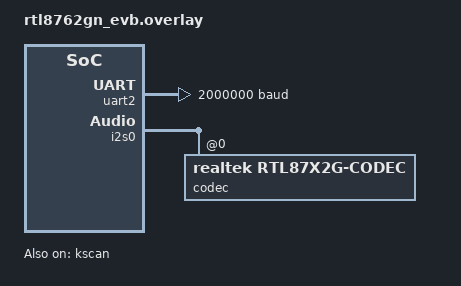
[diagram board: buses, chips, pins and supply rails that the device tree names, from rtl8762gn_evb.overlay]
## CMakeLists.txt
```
# SPDX-License-Identifier: Apache-2.0
cmake_minimum_required(VERSION 3.20.0)

find_package(Zephyr REQUIRED HINTS $ENV{ZEPHYR_BASE})

project(voice-demo)

target_include_directories(app PRIVATE inc)

file(GLOB BLE_SOURCES src/ble/*.c)
file(GLOB BUTTON_SOURCES src/button/*.c)
file(GLOB VOICE_SOURCES src/voice/*.c)

target_sources(app PRIVATE
    src/main.c
    src/loop_queue.c
)

target_sources_ifdef(CONFIG_BT app PRIVATE ${BLE_SOURCES})
target_sources_ifdef(CONFIG_AUDIO app PRIVATE ${VOICE_SOURCES})
target_sources_ifdef(CONFIG_VOICE_PPT_MASTER app PRIVATE src/ppt/voice_ppt_master.c)
target_sources_ifdef(CONFIG_VOICE_PPT_MASTER app PRIVATE src/button.c)
target_sources_ifdef(CONFIG_VOICE_PPT_MASTER app PRIVATE src/button.c)

target_sources_ifdef(CONFIG_VOICE_PPT_SLAVE app PRIVATE
    src/ppt/usb_audio.c
    src/ppt/voice_ppt_slave.c
)
```

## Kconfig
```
# Copyright (c) 2025 Realtek Semiconductor Corp.
# SPDX-License-Identifier: Apache-2.0

config APP_LOG_LEVEL
	int
	default 4

config BT_DEVICE_NAME
	string "device name"
	default "Zephyr Voice demo"

module = VOICE_DEMO
module-str = app
source "subsys/logging/Kconfig.template.log_config"

if REALTEK_PPT

choice VOICE_PPT_ROLE
	prompt "2.4G PPT role"
	default VOICE_PPT_MASTER

config VOICE_PPT_MASTER
	bool "Master (voice device, sends encoded audio)"
	select REALTEK_USING_PPT_SYNC_MASTER

config VOICE_PPT_SLAVE
	bool "Slave (dongle, receives and decodes audio)"
	select REALTEK_USING_PPT_SYNC_SLAVE

endchoice

endif # REALTEK_PPT

choice APP_UAC_SAMPLE_RATE
	prompt "UAC microphone sample rate"
	default APP_UAC_SAMPLE_RATE_16K

config APP_UAC_SAMPLE_RATE_16K
	bool "16 kHz"

config APP_UAC_SAMPLE_RATE_48K
	bool "48 kHz"

endchoice

config APP_UAC_SAMPLE_RATE
	int
	default 16000 if APP_UAC_SAMPLE_RATE_16K
	default 48000 if APP_UAC_SAMPLE_RATE_48K

source "Kconfig.zephyr"
```

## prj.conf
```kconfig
# CONFIG_BT=y
CONFIG_BT_SMP=y
CONFIG_BT_DIS=y
CONFIG_BT_BAS=y

CONFIG_BT_PERIPHERAL=y
CONFIG_BT_RTL87X2G=y
#enable link key storage
CONFIG_BT_SETTINGS=y
CONFIG_BT_KEYS_OVERWRITE_OLDEST=y
CONFIG_FLASH=y
CONFIG_FLASH_PAGE_LAYOUT=y
CONFIG_FLASH_MAP=y
CONFIG_NVS=y
CONFIG_SETTINGS=y
CONFIG_BT_MAX_CONN=2
CONFIG_BT_MAX_PAIRED=1
#enable to send voice data
CONFIG_BT_BUF_ACL_RX_SIZE=251
CONFIG_BT_L2CAP_TX_MTU=247
#enable DLE
CONFIG_BT_USER_DATA_LEN_UPDATE=y
CONFIG_BT_CTLR_DATA_LENGTH_MAX=251

CONFIG_GPIO=y
CONFIG_DMA=y
CONFIG_PWM=y
#audio configurations
CONFIG_AUDIO=y
CONFIG_AUDIO_CODEC=y
CONFIG_I2S=y
CONFIG_I2S_RTL87X2G_RX=y
# CONFIG_I2S_RTL8762G_TX=y
CONFIG_REALTEK_VOICE=y

# CONFIG_PM=y
# CONFIG_PM_DEVICE=y

# 2.4G PPT transport (mutually exclusive with BLE; uncomment to enable)
CONFIG_REALTEK_PPT=y
CONFIG_PPT_DRIVER_LOG_LEVEL=0
# CONFIG_VOICE_PPT_MASTER=y   # voice device (master) role
CONFIG_VOICE_PPT_SLAVE=y    # dongle (slave) role — requires libppt_sync_slave.a

# USB audio output (slave/dongle role only)
CONFIG_USB_DEVICE_STACK=y
CONFIG_USB_DEVICE_AUDIO=y
# CONFIG_USB_DEVICE_AUDIO_SAMPLE_RATE=16000
CONFIG_NET_BUF=y

CONFIG_RING_BUFFER=y
CONFIG_CBPRINTF_FP_SUPPORT=y
CONFIG_HEAP_MEM_POOL_SIZE=8900
CONFIG_SYSTEM_WORKQUEUE_STACK_SIZE=2048
CONFIG_LOG=y
CONFIG_LOG_MODE_IMMEDIATE=y
CONFIG_LOG_PROCESS_THREAD_STACK_SIZE=1024
CONFIG_LOG_BUFFER_SIZE=2048
```

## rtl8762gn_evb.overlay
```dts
#include <zephyr/dt-bindings/gpio/realtek-rtl87x2g-gpio.h>

/ {
    chosen {
        voice,console = &uart0;
        kscan = &kscan;
    };
};

&kscan {
    pinctrl-0 = <&kscan_default>;
    pinctrl-1 = <&kscan_sleep>;
    pinctrl-names = "default", "sleep";
    row-size = <2>;
    col-size = <2>;
    debounce-time-us = <10000>;
    scan-time-us = <50000>;
    release-time-us = <10000>;
    scan-debounce-cnt = <1>;
    status = "okay";
};

&uart2 {
	pinctrl-0 = <&uart2_default>;
	pinctrl-1 = <&uart2_sleep>;
	pinctrl-names = "default", "sleep";
	status = "okay";
	current-speed = <2000000>;
	parity = "none";
	stop-bits = "1";
	data-bits = <8>;
};

&i2s0 {
	dmas = <&dma0 0 41 0x26a1>, <&dma0 1 42 0x648a>;
	dma-names = "tx", "rx";
	pinctrl-0 = <&i2s0_default>;
	pinctrl-names = "default";

	status = "okay";
	codec: codec@0 {
		compatible = "realtek,rtl87x2g-codec";
		reg = <0>;
		channel-sequence = "l_r";
		mic-bias = "1_8";
		mic-bst-gain = "30dB";
		mic-bst-mode = "differential";
		mic-type = "amic";
		dmic-data-latch = "rising_latch";
		ad-gain = <0x2f>;
		boost-gain = "0dB";
		pinctrl-0 = <&codec_default>;
		pinctrl-names = "default";
        status = "okay";
	};
};

&dma0 {
 	status = "okay";
};

&pinctrl {
    kscan_default: kscan_default {
        group1 {
            psels =
            <RTL87X2G_PSEL(KEY_COL_0, P4_3, DIR_OUT, DRV_LOW, PULL_NONE)>,
            <RTL87X2G_PSEL(KEY_COL_1, P4_2, DIR_OUT, DRV_LOW, PULL_NONE)>;
        };
        group2 {
            psels =
            <RTL87X2G_PSEL(KEY_ROW_0, P0_0, DIR_IN, DRV_LOW, PULL_UP)>,
            <RTL87X2G_PSEL(KEY_ROW_1, P0_1, DIR_IN, DRV_LOW, PULL_UP)>;
            bias-pull-strong;
        };
    };
    kscan_sleep: kscan_sleep {
        group1 {
            psels =
            <RTL87X2G_PSEL(SW_MODE, P4_3, DIR_OUT, DRV_LOW, PULL_DOWN)>,
            <RTL87X2G_PSEL(SW_MODE, P4_2, DIR_OUT, DRV_LOW, PULL_DOWN)>;
        };
        group2 {
            psels =
            <RTL87X2G_PSEL(SW_MODE, P0_0, DIR_IN, DRV_HIGH, PULL_UP)>,
            <RTL87X2G_PSEL(SW_MODE, P0_1, DIR_IN, DRV_HIGH, PULL_UP)>;
            bias-pull-strong;
            wakeup-low;
        };
    };
    i2s0_default: i2s0_default {
        group1 {
            psels = <RTL87X2G_PSEL(BCLK_SPORT0, P4_0, DIR_OUT, DRV_LOW, PULL_NONE)>,
             <RTL87X2G_PSEL(SDI_CODEC_SLAVE, P4_2, DIR_OUT, DRV_LOW, PULL_NONE)>,
             <RTL87X2G_PSEL(SDO_CODEC_SLAVE, P4_3, DIR_OUT, DRV_LOW, PULL_NONE)>;
        };
    };
    codec_default: codec_default {
        group1 {
            psels = <RTL87X2G_PSEL(PWR_OFF, MICBIAS, DIR_OUT, DRV_HIGH, PULL_NONE)>,
             <RTL87X2G_PSEL(PWR_OFF, P2_6, DIR_OUT, DRV_HIGH, PULL_NONE)>,
             <RTL87X2G_PSEL(PWR_OFF, P2_7, DIR_OUT, DRV_HIGH, PULL_NONE)>;
        };
    };
    uart2_sleep: uart2_sleep {
		group1 {
			psels = <RTL87X2G_PSEL(SW_MODE, P3_0, DIR_OUT, DRV_HIGH, PULL_UP)>,
			<RTL87X2G_PSEL(SW_MODE, P3_1, DIR_IN, DRV_HIGH, PULL_UP)>;
		};
	};
};
```

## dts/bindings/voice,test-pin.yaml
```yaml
description: Voice test GPIO pin node for voice-demo

compatible: "voice,test-pin"

properties:
  test-pin1:
    type: phandle-array
    specifier-space: gpio
    required: true
  test-pin2:
    type: phandle-array
    specifier-space: gpio
    required: false
  test-pin3:
    type: phandle-array
    specifier-space: gpio
    required: false
  test-pin4:
    type: phandle-array
    specifier-space: gpio
    required: false
```

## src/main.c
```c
/*
 * Copyright (c) 2025 Realtek Semiconductor Corp.
 *
 * SPDX-License-Identifier: Apache-2.0
 */

#include <zephyr/kernel.h>
#include <zephyr/device.h>
#include "button.h"
#include "button_handle.h"
#include <ble/ble.h>
#include <zephyr/logging/log.h>
#if IS_ENABLED(CONFIG_VOICE_PPT_MASTER)
#include <ppt/voice_ppt_master.h>
#elif IS_ENABLED(CONFIG_VOICE_PPT_SLAVE)
#include <ppt/voice_ppt_slave.h>
#endif

LOG_MODULE_REGISTER(app, CONFIG_APP_LOG_LEVEL);

int main()
{
	LOG_DBG("");
// #if IS_ENABLED(CONFIG_KSCAN)
// 	if (kscan_init(DEVICE_DT_GET(DT_CHOSEN(kscan))) != 0) {
// 		return -ENOTSUP;
// 	}
// #endif
#if IS_ENABLED(CONFIG_BT)
	ble_init();
#endif
#if IS_ENABLED(CONFIG_VOICE_PPT_MASTER)
	voice_ppt_master_init();
	voice_ppt_master_enable();
	voice_test_button_init();
#elif IS_ENABLED(CONFIG_VOICE_PPT_SLAVE)
	app_usb_audio_init();
	voice_ppt_slave_init();
	voice_ppt_slave_enable();
#endif
}
```

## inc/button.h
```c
/*
 * Copyright (c) 2025 Realtek Semiconductor Corp.
 *
 * SPDX-License-Identifier: Apache-2.0
 */

#pragma once

int voice_test_button_init(void);
```

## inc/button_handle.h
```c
/*
 * Copyright (c) 2025 Realtek Semiconductor Corp.
 *
 * SPDX-License-Identifier: Apache-2.0
 */

#pragma once

#include <zephyr/kernel.h>
#include <zephyr/sys/util.h>
#include <zephyr/types.h>
#include <config.h>

/*============================================================================*
 *                              Macros
 *============================================================================*/

/*============================================================================*
 *                         Types
 *============================================================================*/

/*============================================================================*
*                        Export Global Variables
*============================================================================*/

/*============================================================================*
 *                         Functions
 *============================================================================*/
void key_handle_one_key_scenario(void);
void key_handle_release_event(void);
```

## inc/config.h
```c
/*
 * Copyright (c) 2025 Realtek Semiconductor Corp.
 *
 * SPDX-License-Identifier: Apache-2.0
 */

#pragma once

#include <zephyr/kernel.h>
#include <zephyr/sys/util.h>

/*============================================================================*
 *                              Macros
 *============================================================================*/

/**
 * VOICE Module config
 */
#define SUPPORT_VOICE_FEATURE               1  /* set 1 to support voice feature */
#define FEATURE_SUPPORT_UART_DUMP_VOICE_RAW_DATA 0 /* set 1 to support uart dump voice feature */
#define FEATURE_SUPPORT_UART_DUMP_VOICE_ENCODE_DATA 0 /* set 1 to support uart dump voice encode data */
#define FEATURE_SUPPORT_UART_DUMP_VOICE_DECODE_DATA 0 /* set 1 to dump slave decoded PCM via UART */
#define FEATURE_SUPPORT_UART_DUMP_UAC_SEND_DATA     0 /* set 1 to dump UAC ISO IN frames via UART */

#if SUPPORT_VOICE_FEATURE

#define SUPPORT_MIC_BIAS_OUTPUT             1  /* set 1 to enable MIC bias output */

#define SUPPORT_UART_DUMP_FEATURE           0  /* set 1 to support UART dump PCM data */

#define SUPPORT_SW_EQ                       0  /* set 1 to support software equalizer */

#if SUPPORT_UART_DUMP_FEATURE
#define VOICE_UART_TEST_TX          P3_1
#endif

/* mic type definitions */
#define AMIC_TYPE                   0  /* Analog MIC */
#define DMIC_TYPE                   1  /* digital MIC */

/* amic input type definitions */
#define AMIC_INPUT_TYPE_DIFF        0  /* differential analog input */
#define AMIC_INPUT_TYPE_SINGLE      1  /* single-end analog input */

/* dmic data latch type definitions */
#define DMIC_DATA_LATCH_FALLING_EDGE    0  /* falling clock edge */
#define DMIC_DATA_LATCH_RISING_EDGE     1  /* rising clock edge */

/* codec sample rate type definitions */
#define CODEC_SAMPLE_RATE_8KHz        1  /* 8KHz codec sample rate */
#define CODEC_SAMPLE_RATE_16KHz       2  /* 16KHz codec sample rate */

#define CODEC_SAMPLE_RATE_SEL       CODEC_SAMPLE_RATE_16KHz

#define VOICE_MIC_TYPE             AMIC_TYPE

#if (VOICE_MIC_TYPE == AMIC_TYPE)
#define AMIC_MIC_N_PIN              P2_6  /* MIC_N is fixed to P2_6 */
#define AMIC_MIC_P_PIN              P2_7  /* MIC_P is fixed to P2_7 */
#define AMIC_MIC_BIAS_PIN           H_0   /* MICBIAS is fixed to H_0 */
#define AMIC_INPUT_TYPE_SEL         AMIC_INPUT_TYPE_DIFF
#elif (VOICE_MIC_TYPE == DMIC_TYPE)
#if (RCU_HD_PLATFORM_SEL == H_DEMO_RCU)
#define DMIC_CLK_PIN                P2_6  /* DMIC clock PIN, support PINMUX */
#define DMIC_DATA_PIN               P2_7  /* DMIC data PIN, support PINMUX */
#else
#define DMIC_CLK_PIN                P2_0  /* DMIC clock PIN, support PINMUX */
#define DMIC_DATA_PIN               P2_1  /* DMIC data PIN, support PINMUX */
#endif
#define DMIC0_DATA_LATCH_TYPE       DMIC_DATA_LATCH_FALLING_EDGE
#endif

/* voice flow type, default IFLYTEK_VOICE_FLOW */
#define IFLYTEK_VOICE_FLOW          0
#define HIDS_GOOGLE_VOICE_FLOW      1
#define ATV_GOOGLE_VOICE_FLOW       2
#define RTK_GATT_VOICE_FLOW         3

#define VOICE_FLOW_SEL              IFLYTEK_VOICE_FLOW

/* voice encode type */
#define SW_MSBC_ENC                 1  /* software msbc encode */
#define SW_SBC_ENC                  2  /* software sbc encode */
#define SW_IMA_ADPCM_ENC            3  /* software IMA/DVI adpcm encode */

/* voice encode config */
#if ((VOICE_FLOW_SEL == IFLYTEK_VOICE_FLOW) || (VOICE_FLOW_SEL == HIDS_GOOGLE_VOICE_FLOW))
#define VOICE_ENC_TYPE              SW_SBC_ENC//SW_MSBC_ENC

#elif (VOICE_FLOW_SEL == ATV_GOOGLE_VOICE_FLOW)
/* ATV_GOOGLE_VOICE_FLOW must use SW_IMA_ADPCM_ENC */
#define VOICE_ENC_TYPE              SW_IMA_ADPCM_ENC

#elif (VOICE_FLOW_SEL == RTK_GATT_VOICE_FLOW)
#define VOICE_ENC_TYPE              SW_SBC_ENC
#endif

/* ATV Google voice config */
#if (VOICE_FLOW_SEL == ATV_GOOGLE_VOICE_FLOW)
/* ATV Google voice version type */
#define ATV_VERSION_0_4             1  /* v0.4 */
#define ATV_VERSION_1_0             2  /* v1.0 */

/* ATV Google voice assistant interaction type */
#define ATV_INTERACTION_MODEL_ON_REQUEST            1  /* on request */
#define ATV_INTERACTION_MODEL_PRESS_TO_TALK         2  /* PTT */
#define ATV_INTERACTION_MODEL_HOLD_TO_TALK          3  /* HTT */

#define ATV_VOICE_VERSION           ATV_VERSION_1_0  /* default version is v1.0 */
#define ATV_VOICE_INTERACTION_MODEL ATV_INTERACTION_MODEL_HOLD_TO_TALK  /* default assistant interaction is HTT */
#endif

#endif
```

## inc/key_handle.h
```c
/*
 * Copyright (c) 2025 Realtek Semiconductor Corp.
 *
 * SPDX-License-Identifier: Apache-2.0
 */

#pragma once

#include <zephyr/kernel.h>
#include <zephyr/sys/util.h>
#include <zephyr/types.h>
#include <config.h>

/*============================================================================*
 *                              Macros
 *============================================================================*/
#define KEY_CODE_TABLE_SIZE KEY_INDEX_ENUM_GUAID
#define KEYPAD_ROW_SIZE 5
#define KEYPAD_COLUMN_SIZE 4
#define MAX_HID_KEYBOARD_USAGE_CNT 8
#define MAX_HID_CONSUMER_USAGE_CNT 3
#define MAX_HID_VOICE_USAGE_CNT 120

#define HID_USAGE_KEY_KEYBOARD_VOICE 0x3e

/* define the bit mask of combine keys */
#define INVALID_COMBINE_KEYS_BIT_MASK               0x0000
#define PAIRING_COMBINE_KEYS_BIT_MASK               0x0001
#define IR_LEARNING_COMBINE_KEYS_BIT_MASK           0x0002
#define HCI_UART_TEST_COMBINE_KEYS_BIT_MASK         0x0004
#define DATA_UART_TEST_COMBINE_KEYS_BIT_MASK        0x0008
#define SINGLE_TONE_TEST_COMBINE_KEYS_BIT_MASK      0x0010
#define FAST_PAIR_1_COMBINE_KEYS_BIT_MASK           0x0020
#define FAST_PAIR_2_COMBINE_KEYS_BIT_MASK           0x0040
#define FAST_PAIR_3_COMBINE_KEYS_BIT_MASK           0x0080
#define FAST_PAIR_4_COMBINE_KEYS_BIT_MASK           0x0100
#define FAST_PAIR_5_COMBINE_KEYS_BIT_MASK           0x0200
#define BUG_REPORT_COMBINE_KEYS_BIT_MASK            0x0400
#define FACTORY_RESET_COMBINE_KEYS_BIT_MASK         0x8000

#define COMBINE_KEYS_DETECT_TIMEOUT         2000  /* 2 sec */
#define FACTORY_RESET_KEYS_DETECT_TIMEOUT   4000  /* 4 sec */
#define BUG_REPOERT_DETECT_TIMEOUT          1000  /* 1 sec */

/*============================================================================*
 *                         Types
 *============================================================================*/
/* define the key types */
typedef enum
{
    KEY_TYPE_NONE       = 0x00,  /* none key type */
    KEY_TYPE_BLE_ONLY   = 0x01,  /* only BLE key type */
    KEY_TYPE_IR_ONLY    = 0x02,  /* only IR key type */
    KEY_TYPE_BLE_OR_IR  = 0x03,  /* BLE or IR key type */
} T_KEY_TYPE_DEF;

/* define the HID usage pages */
typedef enum
{
    HID_USAGE_UNDEFINED  = 0x00,
    HID_USAGE_KEY   = 0x07,
    HID_USAGE_CONSUMER   = 0x0C,
} T_HID_USAGE_PAGES_DEF;

/* define the struct of key code */
typedef struct
{
    T_KEY_TYPE_DEF key_type;
    uint8_t ir_key_code;
    uint8_t hid_usage_page;
    uint32_t hid_usage_id;
} T_KEY_CODE_DEF;

/**
 * @brief  KeyScan FIFO data struct definition.
 */
typedef struct
{
    uint32_t len;               /**< Keyscan state register        */
    struct
    {
        uint16_t column: 5;      /**< Keyscan raw buffer data       */
        uint16_t row: 4;         /**< Keyscan raw buffer data       */
        uint16_t reserved: 7;
    } key[8];
} T_KEYSCAN_FIFO_DATA;

typedef struct
{
    uint8_t keyboard_usage_cnt;
    uint8_t keyboard_usage_buffer[MAX_HID_KEYBOARD_USAGE_CNT];
    uint8_t consumer_usage_cnt;
    uint16_t consumer_usage_buffer[MAX_HID_CONSUMER_USAGE_CNT];
} T_KEY_HID_USAGES_BUFFER;

/* define the key index */
typedef enum
{
    VK_NONE          = 0x00,
    VK_POWER         = 0x01,
    VK_PAGE_UP       = 0x02,
    VK_PAGE_DOWN     = 0x03,
    VK_MENU          = 0x04,
    VK_HOME          = 0x05,
    VK_VOICE         = 0x06,
    VK_ENTER         = 0x07,
    VK_EXIT          = 0x08,
    VK_LEFT          = 0x09,
    VK_RIGHT         = 0x0A,
    VK_UP            = 0x0B,
    VK_DOWN          = 0x0C,
    VK_MOUSE_EN      = 0x0D,
    VK_VOLUME_MUTE   = 0x0E,
    VK_VOLUME_UP     = 0x0F,
    VK_VOLUME_DOWN   = 0x10,
    VK_VOICE_STOP    = 0x11,
    VK_TV_POWER      = 0x12,
    VK_TV_SIGNAL     = 0x13,
    VK_NETFLIX,
    VK_YOUTUBE,
    VK_APP04,

    MM_ScanNext,
    MM_ScanPrevious,
    MM_Stop,
    MM_Play_Pause,
    MM_Mute,
    MM_BassBoost,
    MM_Loudness,
    MM_VolumeIncrement,
    MM_VolumeDecrement,
    MM_BassIncrement,
    MM_BassDecrement,
    MM_TrebleIncrement,
    MM_TrebleDecrement,
    MM_AL_ConsumerControl,
    MM_AL_EmailReader,
    MM_AL_Calculator,
    MM_AL_LocalMachineBrowser,
    MM_AC_Search,
    MM_AC_Home,
    MM_AC_Back,
    MM_AC_Forward,
    MM_AC_Stop,
    MM_AC_Refresh,
    MM_AC_Bookmarks,
    MM_Dashboard,
    MM_DPadUp,
    MM_DPadDown,
    MM_DPadLeft,
    MM_DPadRight,
    MM_DPadCenter,
    MM_Guide,
    MM_Live,
    MM_BugReport,
    KEY_INDEX_ENUM_GUAID
} T_KEY_INDEX_DEF;

/* Key global parameters' struct */
typedef struct
{
    uint32_t combine_keys_status;  /* to indicate the status of combined keys */
    T_KEY_HID_USAGES_BUFFER current_hid_usage_buf;  /* to indicate the current key HID usage buffer */
    T_KEY_HID_USAGES_BUFFER prev_hid_usage_buf;  /* to indicate the preivous key HID usage buffer */
    T_KEYSCAN_FIFO_DATA keyscan_fifo_data;  /* to indicate the pending keyscan FIFO data */
    T_KEY_INDEX_DEF last_long_pressed_key_index; /* to indicate the last long pressed */
} T_KEY_HANDLE_GLOBAL_DATA;

/*============================================================================*
*                        Export Global Variables
*============================================================================*/
extern T_KEY_HANDLE_GLOBAL_DATA key_handle_global_data;

/*============================================================================*
 *                         Functions
 *============================================================================*/
void key_handle_one_key_scenario(void);
bool key_handle_prepare_hid_usage_buffer(T_KEY_INDEX_DEF key_index,
                                                T_KEY_HID_USAGES_BUFFER *p_buf);
int key_handle_notify_hid_usage_buffer(T_KEY_HID_USAGES_BUFFER *p_cur_buf,
                                               T_KEY_HID_USAGES_BUFFER *p_prev_buf);
bool key_handle_notify_hid_release_event(void);
void key_handle_one_key_in_idle_status(T_KEY_INDEX_DEF key_index);
void key_handle_one_key_in_adv_status(T_KEY_INDEX_DEF key_index);
void key_handle_release_event(void);
T_KEY_INDEX_DEF key_handle_get_key_index_by_row_column(uint32_t row, uint32_t col);
T_KEY_TYPE_DEF key_handle_get_key_type_by_key_index(uint32_t key_index);
uint32_t key_handle_get_hid_usage_id_by_key_index(uint32_t key_index);
uint8_t key_handle_get_hid_usage_page_by_key_index(uint32_t key_index);
uint8_t key_handle_get_ir_key_code_by_key_index(uint32_t key_index);
void key_handle_update_kscan_fifo_data(uint32_t row, uint32_t col, bool pressed);
```

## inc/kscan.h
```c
/*
 * Copyright (c) 2025 Realtek Semiconductor Corp.
 *
 * SPDX-License-Identifier: Apache-2.0
 */

#pragma once

#include <zephyr/device.h>

int kscan_init(const struct device *dev);
```

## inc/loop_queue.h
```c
/*
 * Copyright (c) 2025 Realtek Semiconductor Corp.
 *
 * SPDX-License-Identifier: Apache-2.0
 */

#pragma once

#include <stdint.h>
#include <zephyr/kernel.h>
#include <mem_types.h>

/*============================================================================*
 *                              Types
 *============================================================================*/
typedef void *T_LOOP_QUEUE_BUF;

/**
 * @brief Loop queue data struct
 */
typedef struct
{
    volatile bool               is_over_flow;       /* loop queue item size */
    volatile uint16_t           item_size;          /* buf data type */
    volatile uint16_t           buf_max_item_num;   /* Buffer size of loop queue */
    volatile uint16_t           read_index;         /* index of read queue */
    volatile uint16_t           write_index;        /* index of write queue */
    volatile T_LOOP_QUEUE_BUF   p_buf;              /* Buffer for loop queue */
} T_LOOP_QUEUE_DEF;

/*============================================================================*
 *                         Functions
 *============================================================================*/
T_LOOP_QUEUE_DEF *loop_queue_init(uint16_t buf_max_size, uint16_t item_size);
void loop_queue_deinit(T_LOOP_QUEUE_DEF **p_loop_queue);
bool loop_queue_is_full(T_LOOP_QUEUE_DEF *p_queue_struct, uint16_t write_size);
bool loop_queue_is_empty(T_LOOP_QUEUE_DEF *p_queue_struct);
uint16_t loop_queue_get_vailid_data_size(T_LOOP_QUEUE_DEF *p_queue_struct);
uint16_t loop_queue_get_free_data_size(T_LOOP_QUEUE_DEF *p_loop_queue);
bool loop_queue_write_buf(T_LOOP_QUEUE_DEF *p_queue_struct, T_LOOP_QUEUE_BUF p_buf, uint16_t size,
                          bool is_overflow_data_abandoned);
bool loop_queue_read_buf(T_LOOP_QUEUE_DEF *p_queue_struct, T_LOOP_QUEUE_BUF p_buf, uint16_t size);
bool loop_queue_copy_buf(T_LOOP_QUEUE_DEF *p_queue_struct, T_LOOP_QUEUE_BUF p_buf, uint16_t size);
```

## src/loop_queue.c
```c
/*
 * Copyright (c) 2025 Realtek Semiconductor Corp.
 *
 * SPDX-License-Identifier: Apache-2.0
 */

#include <zephyr/kernel.h>
#include <zephyr/device.h>
#include <zephyr/bluetooth/addr.h>
#include <zephyr/logging/log.h>
#include <config.h>
#include <loop_queue.h>
#include <mem_types.h>
#include <os_mem.h>
#include "trace.h"
#include "rtl_pinmux.h"

LOG_MODULE_DECLARE(app, CONFIG_APP_LOG_LEVEL);

/*============================================================================*
 *                              Functions Declaration
 *============================================================================*/
bool loop_queue_is_full(T_LOOP_QUEUE_DEF *p_queue_struct, uint16_t write_size);
bool loop_queue_is_empty(T_LOOP_QUEUE_DEF *p_queue_struct);
uint16_t loop_queue_get_vailid_data_size(T_LOOP_QUEUE_DEF *p_queue_struct);
uint16_t loop_queue_get_free_data_size(T_LOOP_QUEUE_DEF *p_loop_queue);
bool loop_queue_write_buf(T_LOOP_QUEUE_DEF *p_queue_struct, T_LOOP_QUEUE_BUF p_buf, uint16_t size,
                          bool is_overflow_data_abandoned);
bool loop_queue_read_buf(T_LOOP_QUEUE_DEF *p_queue_struct, T_LOOP_QUEUE_BUF p_buf,
                         uint16_t size);
bool loop_queue_copy_buf(T_LOOP_QUEUE_DEF *p_queue_struct, T_LOOP_QUEUE_BUF p_buf,
                         uint16_t size);

/*============================================================================*
 *                              Global Functions
 *============================================================================*/
/******************************************************************
 * @brief   Initializes loop queue to their default reset values.
 * @param   buf_max_size - loop queue buffer max size.
 * @param   item_size - queue item size.
 * @param   ram_type - RAM_TYPE_DATA_ON or RAM_TYPE_BUFFER_ON.
 * @retval  void*
 */
T_LOOP_QUEUE_DEF *loop_queue_init(uint16_t item_cnt, uint16_t item_size)
{
    if ((item_cnt == 0) && (item_size == 0))
    {
        LOG_DBG("[loop queue] buf_max_size is invalid!");
        return NULL;
    }
    T_LOOP_QUEUE_DEF *p_loop_queue = NULL;
    p_loop_queue = k_malloc(sizeof(T_LOOP_QUEUE_DEF));
    if (p_loop_queue != NULL)
    {
        uint32_t buf_max_size = item_cnt * item_size;
        memset(p_loop_queue, 0, sizeof(T_LOOP_QUEUE_DEF));
        p_loop_queue->item_size = item_size;
        p_loop_queue->buf_max_item_num = item_cnt;
        p_loop_queue->is_over_flow = false;
        p_loop_queue->p_buf = NULL;
        p_loop_queue->p_buf = k_malloc(buf_max_size);

        if (p_loop_queue->p_buf != NULL)
        {
            memset((uint8_t *)p_loop_queue->p_buf, 0, buf_max_size);
        }
        else
        {
            k_free(p_loop_queue);
            p_loop_queue = NULL;
        }
    }
    return p_loop_queue;
}

/******************************************************************
 * @brief   Deinitializes loop queue
 * @param   p_loop_queue - point to loop queue which needs deinitialization.
 * @return  none
 * @retval  void
 */
void loop_queue_deinit(T_LOOP_QUEUE_DEF **p_loop_queue)
{
    if (*p_loop_queue != NULL)
    {
        if ((*p_loop_queue)->p_buf != NULL)
        {
            k_free((*p_loop_queue)->p_buf);
            (*p_loop_queue)->p_buf = NULL;
        }
        k_free((*p_loop_queue));
        *p_loop_queue = NULL;
    }
}

/******************************************************************
 * @brief   Get valid data length of loop queue.
 * @param   p_loop_queue - point to loop queue dta struct.
 * @return  valid data size of loop queue.
 * @retval  uint16_t
 */
uint16_t loop_queue_get_vailid_data_size(T_LOOP_QUEUE_DEF *p_loop_queue)
{
    if (p_loop_queue == NULL)
    {
        LOG_DBG("[loop queue] pointer is invalid!");
        return 0;
    }

    if (p_loop_queue->write_index == p_loop_queue->read_index)
    {
        if (p_loop_queue->is_over_flow == true)
        {
            return (p_loop_queue->item_size * p_loop_queue->buf_max_item_num);
        }
        else
        {
            return 0;
        }
    }
    else
    {
        return (p_loop_queue->item_size * ((p_loop_queue->buf_max_item_num + p_loop_queue->write_index -
                                            p_loop_queue->read_index) % p_loop_queue->buf_max_item_num));
    }
}

/******************************************************************
 * @brief   Get free data length of loop queue.
 * @param   p_queue_struct - point to loop queue dta struct.
 * @return  free data size of loop queue.
 * @retval  uint16_t
 */
uint16_t loop_queue_get_free_data_size(T_LOOP_QUEUE_DEF *p_loop_queue)
{
    if (p_loop_queue == NULL)
    {
        LOG_DBG("[loop queue] pointer is invalid!");
        return 0;
    }

    if (p_loop_queue->write_index == p_loop_queue->read_index)
    {
        if (p_loop_queue->is_over_flow == true)
        {
            return 0;
        }
        else
        {
            return (p_loop_queue->item_size * p_loop_queue->buf_max_item_num);
        }
    }
    else
    {
        return (p_loop_queue->item_size * ((p_loop_queue->buf_max_item_num - p_loop_queue->write_index +
                                            p_loop_queue->read_index) % p_loop_queue->buf_max_item_num));
    }
}

/******************************************************************
 * @brief   check loop queue if will full or not.
 * @param   p_loop_queue - point to loop queue dta struct.
 * @return  loop queue is full or not
 * @retval  TRUE - full
 * @retval  FALSE - not full
 */
bool loop_queue_is_full(T_LOOP_QUEUE_DEF *p_loop_queue, uint16_t write_size)
{
    if (p_loop_queue == NULL)
    {
        LOG_DBG("[loop queue] pointer is invalid!");
        return true;
    }
    if (write_size % p_loop_queue->item_size != 0)
    {
        LOG_DBG("[loop queue] buf_max_size is invalid!");
        return true;
    }

    if (p_loop_queue->is_over_flow == true)
    {
        LOG_DBG("[loop queue] Loop Queue is already full!");
        return true;
    }
    else if (write_size >= loop_queue_get_free_data_size(p_loop_queue))
    {
        LOG_DBG("[loop queue] Loop Queue will over flow!");
        return true;
    }

    return false;
}

/******************************************************************
 * @brief   check loop queue if empty or not.
 * @param   p_loop_queue - point to loop queue dta struct.
 * @return  loop queue is empty or not
 * @retval  TRUE - empty
 * @retval  FALSE - empty full
 */
bool loop_queue_is_empty(T_LOOP_QUEUE_DEF *p_loop_queue)
{
    if (p_loop_queue == NULL)
    {
        LOG_DBG("[loop queue] pointer is invalid!");
        return false;
    }

    if (p_loop_queue->is_over_flow == false && p_loop_queue->write_index == p_loop_queue->read_index)
    {
        return true;
    }

    return false;
}

/******************************************************************
 * @brief   Write source buffer data to loop queue.
 * @param   p_loop_queue - point to loop queue data struct.
 * @param   p_write_buf - point to write buffer.
 * @param   size - size of data to be written.
 * @return  result
 * @retval  true or false
 */
bool loop_queue_write_buf(T_LOOP_QUEUE_DEF *p_loop_queue, T_LOOP_QUEUE_BUF p_write_buf,
                          uint16_t size, bool is_overflow_data_abandoned)
{
    uint16_t queue_buf_cur_idx = 0;
    uint16_t write_buf_cur_idx = 0;
    uint16_t remain_len = 0;
    uint16_t write_len = 0;
    uint16_t data_size = 0;

    /* Check parameters */
    if (p_write_buf == NULL || p_loop_queue == NULL || p_loop_queue->p_buf == NULL)
    {
        LOG_DBG("[loop queue] pointer is invalid!");
        return false;
    }

    if (size <= 0 || size % p_loop_queue->item_size != 0)
    {
        LOG_DBG("[loop queue] write data size is invalid!");
        return false;
    }

    if (!loop_queue_is_full(p_loop_queue, size))
    {
        remain_len = size / p_loop_queue->item_size;
    }
    else
    {
        if (is_overflow_data_abandoned == true)
        {
            remain_len = loop_queue_get_free_data_size(p_loop_queue) / p_loop_queue->item_size;
        }
        else
        {
            remain_len = size / p_loop_queue->item_size;
        }
        p_loop_queue->is_over_flow = true;
    }

    while (remain_len)
    {
        if (p_loop_queue->write_index + remain_len <= p_loop_queue->buf_max_item_num)
        {
            write_len = remain_len;
        }
        else
        {
            write_len = p_loop_queue->buf_max_item_num - p_loop_queue->write_index;
        }

        queue_buf_cur_idx = p_loop_queue->item_size * p_loop_queue->write_index;
        data_size = p_loop_queue->item_size * write_len;
        memcpy((uint8_t *)p_loop_queue->p_buf + queue_buf_cur_idx,
               (uint8_t *)p_write_buf + write_buf_cur_idx, data_size);
        write_buf_cur_idx += data_size;
        p_loop_queue->write_index = (p_loop_queue->write_index + write_len) %
                                    p_loop_queue->buf_max_item_num;
        remain_len -= write_len;
    }

    if (p_loop_queue->is_over_flow == true)
    {
        p_loop_queue->read_index = p_loop_queue->write_index;
    }

    return true;
}

/******************************************************************
 * @brief   Read data from loop queue.
 * @param   p_queue_struct - point to loop queue data struct.
 * @param   p_read_buf - point to read buffer
 * @param   size - size of data to be read.
 * @return  result
 * @retval  true or false
 */
bool loop_queue_read_buf(T_LOOP_QUEUE_DEF *p_loop_queue, T_LOOP_QUEUE_BUF p_read_buf,
                         uint16_t size)
{
    uint16_t queue_buf_cur_idx = 0;
    uint16_t read_buf_cur_idx = 0;
    uint16_t remain_len = 0;
    uint16_t read_len = 0;
    uint16_t data_size = 0;

    /* Check parameters */
    if (p_read_buf == NULL || p_loop_queue == NULL || p_loop_queue->p_buf == NULL)
    {
        LOG_DBG("[loop queue] pointer is invalid!");
        return false;
    }

    if (size <= 0 || size % p_loop_queue->item_size != 0)
    {
        LOG_DBG("[loop queue] read data size is invalid!");
        return false;
    }

    if (loop_queue_get_vailid_data_size(p_loop_queue) < size)
    {
        LOG_DBG("[loop queue] there is not enough data to read!");
        return false;
    }

    remain_len = size / p_loop_queue->item_size;

    uint32_t s;
    /* Enter the critical section */
    s = irq_lock();

    while (remain_len)
    {
        if (p_loop_queue->read_index + remain_len <= p_loop_queue->buf_max_item_num)
        {
            read_len = remain_len;
        }
        else
        {
            read_len = p_loop_queue->buf_max_item_num - p_loop_queue->read_index;
        }

        queue_buf_cur_idx = p_loop_queue->item_size * p_loop_queue->read_index;
        data_size = p_loop_queue->item_size * read_len;
        memcpy((uint8_t *)p_read_buf + read_buf_cur_idx, (uint8_t *)p_loop_queue->p_buf + queue_buf_cur_idx,
               data_size);
        read_buf_cur_idx += data_size;
        p_loop_queue->read_index = (p_loop_queue->read_index + read_len) % p_loop_queue->buf_max_item_num;
        remain_len -= read_len;
    }

    p_loop_queue->is_over_flow = false;

    /* Exit the critical section */
    irq_unlock(s);

    return true;
}

/******************************************************************
 * @brief   copy buffer data from loop queue.
 * @param   p_loop_queue - point to loop queue data struct.
 * @param   p_copy_buf - point to copy buffer
 * @param   size - size of data to be copy.
 * @return  result
 * @retval  true or false
 */
bool loop_queue_copy_buf(T_LOOP_QUEUE_DEF *p_loop_queue, T_LOOP_QUEUE_BUF p_copy_buf,
                         uint16_t size)
{
    uint16_t queue_buf_cur_idx = 0;
    uint16_t copy_buf_cur_idx = 0;
    uint16_t remain_len = 0;
    uint16_t copy_len = 0;
    uint16_t data_size = 0;
    uint16_t copy_index = 0;

    /* Check parameters */
    if (p_copy_buf == NULL || p_loop_queue == NULL || p_loop_queue->p_buf == NULL)
    {
        LOG_DBG("[loop queue] pointer is invalid!");
        return false;
    }

    if (size <= 0 || size % p_loop_queue->item_size != 0)
    {
        LOG_DBG("[loop queue] read data size is invalid!");
        return false;
    }

    uint32_t key;
    /* Enter the critical section */
    key = irq_lock();

    if (loop_queue_get_vailid_data_size(p_loop_queue) < size)
    {
        LOG_DBG("[loop queue] there is not enough data to copy!");
        return false;
    }

    remain_len = size / p_loop_queue->item_size;
    copy_index = p_loop_queue->read_index;

    while (remain_len)
    {
        if (copy_index + remain_len <= p_loop_queue->buf_max_item_num)
        {
            copy_len = remain_len;
        }
        else
        {
            copy_len = p_loop_queue->buf_max_item_num - copy_index;
        }

        queue_buf_cur_idx = p_loop_queue->item_size * copy_index;
        data_size = p_loop_queue->item_size * copy_len;
        memcpy((uint8_t *)p_copy_buf + copy_buf_cur_idx, (uint8_t *)p_loop_queue->p_buf + queue_buf_cur_idx,
               data_size);
        copy_buf_cur_idx += data_size;
        copy_index = (copy_index + copy_len) % p_loop_queue->buf_max_item_num;
        remain_len -= copy_len;
    }

    /* Exit the critical section */
    irq_unlock(key);

    return true;
}
```
